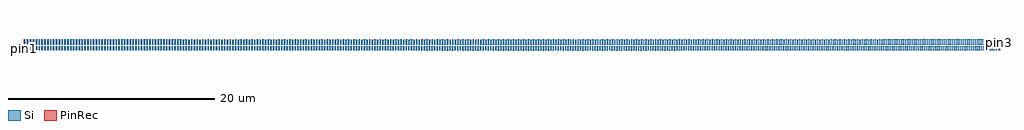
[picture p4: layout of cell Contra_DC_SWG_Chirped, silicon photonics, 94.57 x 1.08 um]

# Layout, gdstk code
import gdstk
lib = gdstk.Library(unit=1e-6, precision=1e-09)
def R(c, l, rs):  # rectangles x0, y0, x1, y1
    for r in rs: c.add(gdstk.rectangle(r[:2], r[2:], *l))
def A(c, l, x, y, w, h, nx, ny, dx, dy):  # array of equal rectangles
    R(c, l, [(x+i*dx, y+j*dy, x+i*dx+w, y+j*dy+h) for i in range(nx) for j in range(ny)])
Si = (1, 0)
PinRec = (1, 10)

contra_dc_swg_chirped = lib.new_cell('Contra_DC_SWG_Chirped')
A(contra_dc_swg_chirped, Si, 50.664, -0.229, 0.13, 0.399, 3, 1, 0.48, 0)
A(contra_dc_swg_chirped, Si, 40.391, -0.225, 0.132, 0.399, 3, 1, 0.497, 0)
A(contra_dc_swg_chirped, Si, 24.046, -0.21, 0.135, 0.399, 3, 1, 0.523, 0)
A(contra_dc_swg_chirped, Si, 16.097, -0.205, 0.137, 0.399, 3, 1, 0.535, 0)
A(contra_dc_swg_chirped, Si, 82.739, -0.204, 0.123, 0.399, 3, 1, 0.422, 0)
A(contra_dc_swg_chirped, Si, 9.606, -0.202, 0.138, 0.399, 3, 1, 0.545, 0)
A(contra_dc_swg_chirped, Si, 87.341, -0.202, 0.122, 0.399, 3, 1, 0.413, 0)
A(contra_dc_swg_chirped, Si, 3.553, -0.201, 0.139, 0.399, 3, 1, 0.554, 0)
A(contra_dc_swg_chirped, Si, 88.99, -0.201, 0.121, 0.399, 3, 1, 0.41, 0)
A(contra_dc_swg_chirped, Si, -0.07, -0.2, 0.14, 0.4, 3, 1, 0.559, 0)
A(contra_dc_swg_chirped, Si, 4.937, -0.2, 0.139, 0.4, 3, 1, 0.552, 0)
A(contra_dc_swg_chirped, Si, 8.239, -0.2, 0.138, 0.4, 3, 1, 0.547, 0)
A(contra_dc_swg_chirped, Si, 14.216, -0.2, 0.137, 0.4, 3, 1, 0.538, 0)
A(contra_dc_swg_chirped, Si, 19.564, -0.2, 0.136, 0.4, 3, 1, 0.53, 0)
A(contra_dc_swg_chirped, Si, 22.207, -0.2, 0.136, 0.4, 3, 1, 0.526, 0)
A(contra_dc_swg_chirped, Si, 31.043, -0.2, 0.134, 0.4, 3, 1, 0.512, 0)
A(contra_dc_swg_chirped, Si, 36.635, -0.2, 0.133, 0.4, 3, 1, 0.503, 0)
A(contra_dc_swg_chirped, Si, 42.128, -0.2, 0.132, 0.4, 3, 1, 0.494, 0)
A(contra_dc_swg_chirped, Si, 50.424, -0.2, 0.13, 0.4, 3, 1, 0.48, 0)
A(contra_dc_swg_chirped, Si, 55.194, -0.2, 0.129, 0.4, 3, 1, 0.472, 0)
A(contra_dc_swg_chirped, Si, 59.417, -0.2, 0.128, 0.4, 3, 1, 0.465, 0)
A(contra_dc_swg_chirped, Si, 67.215, -0.2, 0.126, 0.4, 3, 1, 0.451, 0)
A(contra_dc_swg_chirped, Si, 72.135, -0.2, 0.125, 0.4, 3, 1, 0.442, 0)
A(contra_dc_swg_chirped, Si, 74.777, -0.2, 0.125, 0.4, 3, 1, 0.437, 0)
A(contra_dc_swg_chirped, Si, 76.522, -0.2, 0.124, 0.4, 3, 1, 0.434, 0)
A(contra_dc_swg_chirped, Si, 81.254, -0.2, 0.123, 0.4, 3, 1, 0.425, 0)
A(contra_dc_swg_chirped, Si, 85.47, -0.2, 0.122, 0.4, 3, 1, 0.417, 0)
A(contra_dc_swg_chirped, Si, 90.014, -0.2, 0.121, 0.4, 3, 1, 0.408, 0)
A(contra_dc_swg_chirped, Si, 50.444, 0.311, 0.13, 0.499, 4, 1, 0.48, 0)
A(contra_dc_swg_chirped, Si, 46.079, 0.312, 0.131, 0.499, 3, 1, 0.488, 0)
A(contra_dc_swg_chirped, Si, 55.216, 0.312, 0.129, 0.499, 3, 1, 0.472, 0)
A(contra_dc_swg_chirped, Si, 9.882, 0.347, 0.138, 0.499, 3, 1, 0.545, 0)
A(contra_dc_swg_chirped, Si, 86.34, 0.347, 0.122, 0.499, 3, 1, 0.415, 0)
A(contra_dc_swg_chirped, Si, 15.029, 0.35, 0.137, 0.5, 3, 1, 0.537, 0)
A(contra_dc_swg_chirped, Si, 20.896, 0.35, 0.136, 0.5, 3, 1, 0.528, 0)
A(contra_dc_swg_chirped, Si, 25.623, 0.35, 0.135, 0.5, 3, 1, 0.521, 0)
A(contra_dc_swg_chirped, Si, 31.311, 0.35, 0.134, 0.5, 3, 1, 0.512, 0)
A(contra_dc_swg_chirped, Si, 37.404, 0.35, 0.133, 0.5, 3, 1, 0.502, 0)
A(contra_dc_swg_chirped, Si, 42.886, 0.35, 0.132, 0.5, 3, 1, 0.493, 0)
A(contra_dc_swg_chirped, Si, 45.835, 0.35, 0.131, 0.5, 3, 1, 0.488, 0)
A(contra_dc_swg_chirped, Si, 50.203, 0.35, 0.13, 0.5, 3, 1, 0.481, 0)
A(contra_dc_swg_chirped, Si, 55.452, 0.35, 0.129, 0.5, 3, 1, 0.472, 0)
A(contra_dc_swg_chirped, Si, 63.371, 0.35, 0.127, 0.5, 3, 1, 0.458, 0)
A(contra_dc_swg_chirped, Si, 65.655, 0.35, 0.127, 0.5, 3, 1, 0.454, 0)
A(contra_dc_swg_chirped, Si, 67.919, 0.35, 0.126, 0.5, 3, 1, 0.45, 0)
A(contra_dc_swg_chirped, Si, 70.162, 0.35, 0.126, 0.5, 3, 1, 0.446, 0)
A(contra_dc_swg_chirped, Si, 72.828, 0.35, 0.125, 0.5, 3, 1, 0.441, 0)
A(contra_dc_swg_chirped, Si, 77.638, 0.35, 0.124, 0.5, 3, 1, 0.432, 0)
A(contra_dc_swg_chirped, Si, 82.35, 0.35, 0.123, 0.5, 3, 1, 0.423, 0)
A(contra_dc_swg_chirped, Si, 86.963, 0.35, 0.122, 0.5, 3, 1, 0.414, 0)
A(contra_dc_swg_chirped, Si, 90.664, 0.35, 0.121, 0.5, 3, 1, 0.407, 0)
R(contra_dc_swg_chirped, Si, [(46.793,-0.229,46.924,0.17), (47.28,-0.229,47.41,0.17), (47.766,-0.229,47.896,0.17), (48.251,-0.229,48.381,0.17), (48.735,-0.229,48.866,0.17), (49.219,-0.229,49.349,0.17), (49.701,-0.229,49.832,0.17), (50.183,-0.229,50.313,0.17), (52.103,-0.229,52.232,0.17), (52.58,-0.229,52.71,0.17), (53.057,-0.229,53.187,0.17), (53.534,-0.229,53.663,0.17), (54.009,-0.229,54.138,0.17), (54.483,-0.229,54.613,0.17), (54.957,-0.229,55.086,0.17), (55.43,-0.229,55.559,0.17), (44.838,-0.228,44.969,0.171), (45.328,-0.228,45.459,0.171), (45.817,-0.228,45.948,0.171), (46.305,-0.228,46.436,0.171), (55.902,-0.228,56.031,0.171), (56.374,-0.228,56.502,0.171), (56.844,-0.228,56.973,0.171), (57.314,-0.228,57.442,0.171), (43.363,-0.227,43.494,0.172), (43.855,-0.227,43.987,0.172), (44.347,-0.227,44.478,0.172), (57.783,-0.227,57.911,0.172), (58.251,-0.227,58.379,0.172), (58.718,-0.227,58.846,0.172), (41.88,-0.226,42.012,0.173), (42.375,-0.226,42.507,0.173), (42.869,-0.226,43.001,0.173), (59.184,-0.226,59.312,0.173), (59.65,-0.226,59.778,0.173), (60.115,-0.226,60.243,0.173), (60.579,-0.225,60.707,0.174), (61.042,-0.225,61.17,0.174), (39.394,-0.224,39.526,0.175), (39.893,-0.224,40.025,0.175), (61.504,-0.224,61.632,0.175), (61.966,-0.224,62.093,0.175), (62.426,-0.224,62.554,0.175), (38.393,-0.223,38.526,0.176), (38.894,-0.223,39.026,0.176), (62.886,-0.223,63.014,0.176), (63.345,-0.223,63.473,0.176), (37.39,-0.222,37.522,0.177), (37.892,-0.222,38.025,0.177), (63.804,-0.222,63.931,0.177), (64.261,-0.222,64.388,0.177), (36.383,-0.221,36.516,0.178), (36.887,-0.221,37.019,0.178), (64.718,-0.221,64.845,0.178), (65.173,-0.221,65.3,0.178), (34.866,-0.22,35,0.179), (35.372,-0.22,35.506,0.179), (35.878,-0.22,36.011,0.179), (65.629,-0.22,65.755,0.179), (66.083,-0.22,66.209,0.179), (33.851,-0.219,33.985,0.18), (34.359,-0.219,34.492,0.18), (66.536,-0.219,66.663,0.18), (66.989,-0.219,67.115,0.18), (32.833,-0.218,32.967,0.181), (33.342,-0.218,33.476,0.181), (67.44,-0.218,67.567,0.181), (67.891,-0.218,68.018,0.181), (31.811,-0.217,31.945,0.182), (32.322,-0.217,32.456,0.182), (68.341,-0.217,68.468,0.182), (68.791,-0.217,68.917,0.182), (30.786,-0.216,30.921,0.183), (31.299,-0.216,31.433,0.183), (69.239,-0.216,69.365,0.183), (69.687,-0.216,69.813,0.183), (29.758,-0.215,29.893,0.184), (30.273,-0.215,30.407,0.184), (70.134,-0.215,70.26,0.184), (70.58,-0.215,70.706,0.184), (28.727,-0.214,28.861,0.185), (29.243,-0.214,29.377,0.185), (71.025,-0.214,71.151,0.185), (71.47,-0.214,71.595,0.185), (27.692,-0.213,27.827,0.186), (28.21,-0.213,28.345,0.186), (71.913,-0.213,72.039,0.186), (72.356,-0.213,72.481,0.186), (26.654,-0.212,26.789,0.187), (27.174,-0.212,27.309,0.187), (72.798,-0.212,72.923,0.187), (73.239,-0.212,73.364,0.187), (73.68,-0.212,73.804,0.187), (25.613,-0.211,25.749,0.188), (26.134,-0.211,26.269,0.188), (74.119,-0.211,74.244,0.188), (74.558,-0.211,74.683,0.188), (74.996,-0.21,75.12,0.189), (75.433,-0.21,75.557,0.189), (22.996,-0.209,23.132,0.19), (23.521,-0.209,23.657,0.19), (75.869,-0.209,75.994,0.19), (76.305,-0.209,76.429,0.19), (76.739,-0.209,76.863,0.19), (21.416,-0.208,21.552,0.191), (21.944,-0.208,22.08,0.191), (22.47,-0.208,22.606,0.191), (77.173,-0.208,77.297,0.191), (77.606,-0.208,77.73,0.191), (19.829,-0.207,19.965,0.192), (20.359,-0.207,20.495,0.192), (20.888,-0.207,21.024,0.192), (78.038,-0.207,78.162,0.192), (78.47,-0.207,78.594,0.192), (78.9,-0.207,79.024,0.192), (18.234,-0.206,18.371,0.193), (18.767,-0.206,18.903,0.193), (19.298,-0.206,19.435,0.193), (79.33,-0.206,79.454,0.193), (79.759,-0.206,79.883,0.193), (80.187,-0.206,80.311,0.193), (80.614,-0.206,80.738,0.193), (17.701,-0.205,17.838,0.194), (81.041,-0.205,81.164,0.194), (81.467,-0.205,81.59,0.194), (81.892,-0.205,82.015,0.194), (13.946,-0.204,14.083,0.195), (14.485,-0.204,14.622,0.195), (15.023,-0.204,15.16,0.195), (15.56,-0.204,15.697,0.195), (82.316,-0.204,82.439,0.195), (11.239,-0.203,11.377,0.196), (11.782,-0.203,11.92,0.196), (12.325,-0.203,12.462,0.196), (12.866,-0.203,13.003,0.196), (13.406,-0.203,13.544,0.196), (84.004,-0.203,84.126,0.196), (84.424,-0.203,84.546,0.196), (84.843,-0.203,84.965,0.196), (85.261,-0.203,85.384,0.196), (85.679,-0.203,85.801,0.196), (7.965,-0.202,8.103,0.197), (8.512,-0.202,8.651,0.197), (9.06,-0.202,9.198,0.197), (86.096,-0.202,86.218,0.197), (86.512,-0.202,86.633,0.197), (86.927,-0.202,87.049,0.197), (88.579,-0.202,88.7,0.197), (1.885,-0.201,2.024,0.198), (2.441,-0.201,2.581,0.198), (2.997,-0.201,3.137,0.198), (5.213,-0.201,5.352,0.198), (5.765,-0.201,5.904,0.198), (6.316,-0.201,6.455,0.198), (6.867,-0.201,7.005,0.198), (7.416,-0.201,7.555,0.198), (90.218,-0.201,90.339,0.198), (90.626,-0.201,90.747,0.198), (91.033,-0.201,91.154,0.198), (91.439,-0.201,91.56,0.198), (91.845,-0.201,91.965,0.198), (92.249,-0.201,92.37,0.198), (92.653,-0.201,92.773,0.198), (0.209,-0.2,0.349,0.199), (0.769,-0.2,0.909,0.199), (1.327,-0.2,1.467,0.199), (1.606,-0.2,1.746,0.2), (2.163,-0.2,2.303,0.2), (2.72,-0.2,2.859,0.2), (3.275,-0.2,3.415,0.2), (3.83,-0.2,3.969,0.2), (4.384,-0.2,4.523,0.2), (6.591,-0.2,6.73,0.2), (7.141,-0.2,7.28,0.2), (7.69,-0.2,7.829,0.2), (9.879,-0.2,10.017,0.2), (10.423,-0.2,10.562,0.2), (10.968,-0.2,11.106,0.2), (11.511,-0.2,11.649,0.2), (12.054,-0.2,12.191,0.2), (12.595,-0.2,12.733,0.2), (13.136,-0.2,13.274,0.2), (13.676,-0.2,13.814,0.2), (15.829,-0.2,15.966,0.2), (16.365,-0.2,16.502,0.2), (16.9,-0.2,17.037,0.2), (17.434,-0.2,17.571,0.2), (17.968,-0.2,18.104,0.2), (18.501,-0.2,18.637,0.2), (19.033,-0.2,19.169,0.2), (21.152,-0.2,21.288,0.2), (21.68,-0.2,21.816,0.2), (23.784,-0.2,23.919,0.2), (24.307,-0.2,24.443,0.2), (24.83,-0.2,24.966,0.2), (25.353,-0.2,25.488,0.2), (25.874,-0.2,26.009,0.2), (26.394,-0.2,26.53,0.2), (26.914,-0.2,27.049,0.2), (27.433,-0.2,27.568,0.2), (27.951,-0.2,28.086,0.2), (28.469,-0.2,28.603,0.2), (28.985,-0.2,29.12,0.2), (29.501,-0.2,29.635,0.2), (30.016,-0.2,30.15,0.2), (30.53,-0.2,30.664,0.2), (32.578,-0.2,32.711,0.2), (33.088,-0.2,33.221,0.2), (33.597,-0.2,33.73,0.2), (34.105,-0.2,34.239,0.2), (34.613,-0.2,34.746,0.2), (35.119,-0.2,35.253,0.2), (35.625,-0.2,35.759,0.2), (36.13,-0.2,36.263,0.2), (38.143,-0.2,38.275,0.2), (38.644,-0.2,38.776,0.2), (39.144,-0.2,39.276,0.2), (39.643,-0.2,39.776,0.2), (40.142,-0.2,40.274,0.2), (40.64,-0.2,40.772,0.2), (41.137,-0.2,41.269,0.2), (41.633,-0.2,41.765,0.2), (43.609,-0.2,43.741,0.2), (44.101,-0.2,44.233,0.2), (44.592,-0.2,44.724,0.2), (45.083,-0.2,45.214,0.2), (45.572,-0.2,45.704,0.2), (46.061,-0.2,46.192,0.2), (46.549,-0.2,46.68,0.2), (47.036,-0.2,47.167,0.2), (47.523,-0.2,47.653,0.2), (48.008,-0.2,48.139,0.2), (48.493,-0.2,48.624,0.2), (48.977,-0.2,49.107,0.2), (49.46,-0.2,49.59,0.2), (49.942,-0.2,50.073,0.2), (51.863,-0.2,51.993,0.2), (52.342,-0.2,52.471,0.2), (52.819,-0.2,52.949,0.2), (53.296,-0.2,53.425,0.2), (53.771,-0.2,53.901,0.2), (54.246,-0.2,54.376,0.2), (54.72,-0.2,54.85,0.2), (56.609,-0.2,56.738,0.2), (57.079,-0.2,57.208,0.2), (57.548,-0.2,57.677,0.2), (58.017,-0.2,58.145,0.2), (58.484,-0.2,58.613,0.2), (58.951,-0.2,59.079,0.2), (60.81,-0.2,60.938,0.2), (61.273,-0.2,61.401,0.2), (61.735,-0.2,61.863,0.2), (62.196,-0.2,62.324,0.2), (62.656,-0.2,62.784,0.2), (63.116,-0.2,63.243,0.2), (63.575,-0.2,63.702,0.2), (64.032,-0.2,64.16,0.2), (64.489,-0.2,64.617,0.2), (64.946,-0.2,65.073,0.2), (65.401,-0.2,65.528,0.2), (65.856,-0.2,65.982,0.2), (66.31,-0.2,66.436,0.2), (66.762,-0.2,66.889,0.2), (68.566,-0.2,68.692,0.2), (69.015,-0.2,69.141,0.2), (69.463,-0.2,69.589,0.2), (69.911,-0.2,70.036,0.2), (70.357,-0.2,70.483,0.2), (70.803,-0.2,70.928,0.2), (71.247,-0.2,71.373,0.2), (71.691,-0.2,71.817,0.2), (73.459,-0.2,73.584,0.2), (73.899,-0.2,74.024,0.2), (74.339,-0.2,74.463,0.2), (76.087,-0.2,76.211,0.2), (77.822,-0.2,77.946,0.2), (78.254,-0.2,78.378,0.2), (78.685,-0.2,78.809,0.2), (79.115,-0.2,79.239,0.2), (79.545,-0.2,79.668,0.2), (79.973,-0.2,80.097,0.2), (80.401,-0.2,80.524,0.2), (80.828,-0.2,80.951,0.2), (82.527,-0.2,82.65,0.2), (82.95,-0.2,83.073,0.2), (83.372,-0.2,83.495,0.2), (83.793,-0.2,83.916,0.2), (84.214,-0.2,84.336,0.2), (84.633,-0.2,84.756,0.2), (85.052,-0.2,85.175,0.2), (86.719,-0.2,86.841,0.2), (87.134,-0.2,87.256,0.2), (87.548,-0.2,87.67,0.2), (87.961,-0.2,88.082,0.2), (88.373,-0.2,88.495,0.2), (88.785,-0.2,88.906,0.2), (89.195,-0.2,89.317,0.2), (89.605,-0.2,89.726,0.2), (91.236,-0.2,91.357,0.2), (91.642,-0.2,91.763,0.2), (92.047,-0.2,92.167,0.2), (92.451,-0.2,92.571,0.2), (92.854,-0.2,92.975,0.2), (93.056,-0.2,93.176,0.199), (93.257,-0.2,93.377,0.2), (93.458,-0.2,93.578,0.199), (93.659,-0.2,93.779,0.2), (93.859,-0.2,93.979,0.199), (94.059,-0.2,94.179,0.2), (94.3,-0.2,94.42,0.2), (47.541,0.311,47.672,0.81), (48.027,0.311,48.158,0.81), (48.512,0.311,48.643,0.81), (48.996,0.311,49.127,0.81), (49.479,0.311,49.61,0.81), (49.962,0.311,50.092,0.81), (52.362,0.311,52.492,0.81), (52.84,0.311,52.969,0.81), (53.316,0.311,53.446,0.81), (53.792,0.311,53.922,0.81), (54.268,0.311,54.397,0.81), (54.742,0.311,54.871,0.81), (56.631,0.312,56.76,0.811), (44.61,0.313,44.741,0.812), (45.1,0.313,45.232,0.812), (45.59,0.313,45.721,0.812), (57.102,0.313,57.23,0.812), (57.571,0.313,57.7,0.812), (58.04,0.313,58.168,0.812), (43.626,0.314,43.758,0.813), (44.118,0.314,44.25,0.813), (58.507,0.314,58.636,0.813), (58.975,0.314,59.103,0.813), (42.144,0.315,42.276,0.814), (42.639,0.315,42.771,0.814), (43.133,0.315,43.265,0.814), (59.441,0.315,59.569,0.814), (59.906,0.315,60.034,0.814), (41.649,0.316,41.781,0.815), (60.371,0.316,60.499,0.815), (60.834,0.316,60.962,0.815), (40.655,0.317,40.787,0.816), (41.152,0.317,41.284,0.816), (61.297,0.317,61.425,0.816), (61.76,0.317,61.887,0.816), (39.658,0.318,39.791,0.817), (40.157,0.318,40.29,0.817), (62.221,0.318,62.349,0.817), (62.681,0.318,62.809,0.817), (38.658,0.319,38.791,0.818), (39.159,0.319,39.291,0.818), (63.141,0.319,63.269,0.818), (38.157,0.32,38.29,0.819), (63.6,0.32,63.727,0.819), (64.058,0.32,64.185,0.819), (37.152,0.321,37.285,0.82), (37.655,0.321,37.788,0.82), (64.515,0.321,64.642,0.82), (36.649,0.322,36.782,0.821), (64.972,0.322,65.099,0.821), (65.427,0.322,65.554,0.821), (35.639,0.323,35.772,0.822), (36.144,0.323,36.277,0.822), (65.882,0.323,66.009,0.822), (66.336,0.323,66.463,0.822), (34.626,0.324,34.759,0.823), (35.133,0.324,35.266,0.823), (66.789,0.324,66.916,0.823), (34.118,0.325,34.252,0.824), (67.242,0.325,67.368,0.824), (67.693,0.325,67.82,0.824), (33.1,0.326,33.234,0.825), (33.61,0.326,33.743,0.825), (68.144,0.326,68.27,0.825), (32.59,0.327,32.724,0.826), (68.594,0.327,68.72,0.826), (69.043,0.327,69.169,0.826), (31.567,0.328,31.701,0.827), (32.079,0.328,32.213,0.827), (69.491,0.328,69.617,0.827), (31.055,0.329,31.189,0.828), (69.939,0.329,70.065,0.828), (70.385,0.329,70.511,0.828), (30.027,0.33,30.161,0.829), (30.541,0.33,30.675,0.829), (70.831,0.33,70.957,0.829), (29.512,0.331,29.646,0.83), (71.276,0.331,71.402,0.83), (71.721,0.331,71.846,0.83), (28.479,0.332,28.614,0.831), (28.996,0.332,29.131,0.831), (72.164,0.332,72.289,0.831), (27.962,0.333,28.097,0.832), (72.607,0.333,72.732,0.832), (73.048,0.333,73.174,0.832), (26.924,0.334,27.059,0.833), (27.444,0.334,27.578,0.833), (73.489,0.334,73.614,0.833), (73.929,0.334,74.054,0.833), (25.884,0.335,26.019,0.834), (26.404,0.335,26.539,0.834), (74.369,0.335,74.494,0.834), (25.362,0.336,25.497,0.835), (74.807,0.336,74.932,0.835), (75.245,0.336,75.37,0.835), (24.316,0.337,24.452,0.836), (24.84,0.337,24.975,0.836), (75.682,0.337,75.807,0.836), (76.118,0.337,76.243,0.836), (23.268,0.338,23.403,0.837), (23.792,0.338,23.928,0.837), (76.553,0.338,76.678,0.837), (76.988,0.338,77.112,0.837), (22.216,0.339,22.351,0.838), (22.742,0.339,22.878,0.838), (77.421,0.339,77.546,0.838), (77.854,0.339,77.978,0.838), (21.16,0.34,21.296,0.839), (21.688,0.34,21.824,0.839), (78.286,0.34,78.41,0.839), (78.717,0.34,78.841,0.839), (19.571,0.341,19.707,0.84), (20.102,0.341,20.238,0.84), (20.631,0.341,20.767,0.84), (79.148,0.341,79.272,0.84), (79.577,0.341,79.701,0.84), (18.507,0.342,18.644,0.841), (19.04,0.342,19.176,0.841), (80.006,0.342,80.13,0.841), (80.434,0.342,80.558,0.841), (80.861,0.342,80.985,0.841), (16.906,0.343,17.043,0.842), (17.441,0.343,17.578,0.842), (17.975,0.343,18.111,0.842), (81.287,0.343,81.411,0.842), (81.713,0.343,81.836,0.842), (15.297,0.344,15.435,0.843), (15.834,0.344,15.972,0.843), (16.371,0.344,16.508,0.843), (82.138,0.344,82.261,0.843), (82.562,0.344,82.684,0.843), (82.985,0.344,83.107,0.843), (13.681,0.345,13.819,0.844), (14.221,0.345,14.358,0.844), (14.76,0.345,14.897,0.844), (83.407,0.345,83.53,0.844), (83.828,0.345,83.951,0.844), (84.249,0.345,84.371,0.844), (11.515,0.346,11.653,0.845), (12.058,0.346,12.196,0.845), (12.6,0.346,12.738,0.845), (13.141,0.346,13.279,0.845), (84.669,0.346,84.791,0.845), (85.088,0.346,85.21,0.845), (85.506,0.346,85.628,0.845), (85.923,0.346,86.045,0.845), (8.789,0.347,8.928,0.846), (9.336,0.347,9.474,0.846), (87.584,0.347,87.706,0.846), (87.998,0.347,88.119,0.846), (5.491,0.348,5.63,0.847), (6.043,0.348,6.182,0.847), (6.594,0.348,6.733,0.847), (7.144,0.348,7.283,0.847), (7.693,0.348,7.832,0.847), (8.242,0.348,8.38,0.847), (88.41,0.348,88.532,0.847), (88.822,0.348,88.943,0.847), (89.233,0.348,89.354,0.847), (89.643,0.348,89.764,0.847), (90.052,0.348,90.173,0.847), (90.46,0.348,90.581,0.847), (-0.06,0.349,0.06,0.848), (0.489,0.349,0.629,0.848), (1.048,0.349,1.188,0.848), (1.607,0.349,1.746,0.848), (2.164,0.349,2.304,0.848), (2.721,0.349,2.86,0.848), (3.276,0.349,3.416,0.848), (3.831,0.349,3.971,0.848), (4.385,0.349,4.525,0.848), (4.939,0.349,5.078,0.848), (90.868,0.349,90.989,0.848), (91.275,0.349,91.395,0.848), (91.681,0.349,91.801,0.848), (92.086,0.349,92.206,0.848), (92.49,0.349,92.611,0.848), (92.894,0.349,93.014,0.848), (93.296,0.349,93.417,0.848), (93.698,0.349,93.818,0.848), (94.099,0.349,94.219,0.848), (0.21,0.35,0.35,0.85), (0.769,0.35,0.909,0.85), (1.328,0.35,1.467,0.85), (1.885,0.35,2.025,0.85), (2.442,0.35,2.582,0.85), (2.999,0.35,3.138,0.85), (3.554,0.35,3.693,0.85), (4.108,0.35,4.248,0.85), (4.662,0.35,4.801,0.85), (5.215,0.35,5.354,0.85), (5.767,0.35,5.906,0.85), (6.319,0.35,6.457,0.85), (6.869,0.35,7.008,0.85), (7.419,0.35,7.557,0.85), (7.968,0.35,8.106,0.85), (8.516,0.35,8.654,0.85), (9.063,0.35,9.201,0.85), (9.609,0.35,9.748,0.85), (10.155,0.35,10.293,0.85), (10.7,0.35,10.838,0.85), (11.244,0.35,11.382,0.85), (11.787,0.35,11.925,0.85), (12.329,0.35,12.467,0.85), (12.871,0.35,13.008,0.85), (13.411,0.35,13.549,0.85), (13.951,0.35,14.089,0.85), (14.49,0.35,14.628,0.85), (16.639,0.35,16.775,0.85), (17.174,0.35,17.31,0.85), (17.708,0.35,17.844,0.85), (18.241,0.35,18.378,0.85), (18.774,0.35,18.91,0.85), (19.305,0.35,19.442,0.85), (19.836,0.35,19.973,0.85), (20.366,0.35,20.503,0.85), (22.479,0.35,22.615,0.85), (23.005,0.35,23.141,0.85), (23.53,0.35,23.666,0.85), (24.055,0.35,24.19,0.85), (24.578,0.35,24.714,0.85), (25.101,0.35,25.236,0.85), (27.184,0.35,27.319,0.85), (27.703,0.35,27.838,0.85), (28.221,0.35,28.355,0.85), (28.738,0.35,28.872,0.85), (29.254,0.35,29.389,0.85), (29.77,0.35,29.904,0.85), (30.284,0.35,30.419,0.85), (30.798,0.35,30.932,0.85), (32.845,0.35,32.979,0.85), (33.355,0.35,33.489,0.85), (33.864,0.35,33.998,0.85), (34.372,0.35,34.506,0.85), (34.879,0.35,35.013,0.85), (35.386,0.35,35.519,0.85), (35.892,0.35,36.025,0.85), (36.397,0.35,36.53,0.85), (36.901,0.35,37.034,0.85), (38.909,0.35,39.041,0.85), (39.409,0.35,39.541,0.85), (39.908,0.35,40.04,0.85), (40.406,0.35,40.539,0.85), (40.904,0.35,41.036,0.85), (41.401,0.35,41.533,0.85), (41.897,0.35,42.029,0.85), (42.392,0.35,42.524,0.85), (44.364,0.35,44.495,0.85), (44.855,0.35,44.986,0.85), (45.345,0.35,45.477,0.85), (47.298,0.35,47.429,0.85), (47.784,0.35,47.915,0.85), (48.27,0.35,48.4,0.85), (48.754,0.35,48.885,0.85), (49.238,0.35,49.368,0.85), (49.721,0.35,49.851,0.85), (51.644,0.35,51.774,0.85), (52.123,0.35,52.253,0.85), (52.601,0.35,52.731,0.85), (53.078,0.35,53.208,0.85), (53.555,0.35,53.684,0.85), (54.03,0.35,54.16,0.85), (54.505,0.35,54.634,0.85), (54.979,0.35,55.108,0.85), (56.866,0.35,56.995,0.85), (57.336,0.35,57.465,0.85), (57.805,0.35,57.934,0.85), (58.274,0.35,58.402,0.85), (58.741,0.35,58.87,0.85), (59.208,0.35,59.336,0.85), (59.674,0.35,59.802,0.85), (60.139,0.35,60.267,0.85), (60.603,0.35,60.731,0.85), (61.066,0.35,61.194,0.85), (61.529,0.35,61.656,0.85), (61.99,0.35,62.118,0.85), (62.451,0.35,62.579,0.85), (62.911,0.35,63.039,0.85), (64.744,0.35,64.871,0.85), (65.2,0.35,65.327,0.85), (67.016,0.35,67.142,0.85), (67.468,0.35,67.594,0.85), (69.267,0.35,69.393,0.85), (69.715,0.35,69.841,0.85), (71.499,0.35,71.624,0.85), (71.942,0.35,72.068,0.85), (72.385,0.35,72.511,0.85), (74.149,0.35,74.274,0.85), (74.588,0.35,74.713,0.85), (75.026,0.35,75.151,0.85), (75.464,0.35,75.588,0.85), (75.9,0.35,76.025,0.85), (76.336,0.35,76.46,0.85), (76.771,0.35,76.895,0.85), (77.205,0.35,77.329,0.85), (78.933,0.35,79.057,0.85), (79.363,0.35,79.486,0.85), (79.792,0.35,79.915,0.85), (80.22,0.35,80.344,0.85), (80.648,0.35,80.771,0.85), (81.074,0.35,81.198,0.85), (81.5,0.35,81.624,0.85), (81.925,0.35,82.049,0.85), (83.618,0.35,83.74,0.85), (84.039,0.35,84.161,0.85), (84.459,0.35,84.581,0.85), (84.878,0.35,85.001,0.85), (85.297,0.35,85.419,0.85), (85.715,0.35,85.837,0.85), (86.132,0.35,86.254,0.85), (86.548,0.35,86.67,0.85), (88.204,0.35,88.326,0.85), (88.616,0.35,88.738,0.85), (89.027,0.35,89.149,0.85), (89.438,0.35,89.559,0.85), (89.847,0.35,89.969,0.85), (90.256,0.35,90.377,0.85), (91.883,0.35,92.004,0.85), (92.288,0.35,92.409,0.85), (92.692,0.35,92.812,0.85), (93.095,0.35,93.215,0.85), (93.497,0.35,93.618,0.85), (93.899,0.35,94.019,0.85), (94.299,0.35,94.42,0.85)])
contra_dc_swg_chirped.add(gdstk.FlexPath([(-0.06,0),(-0.08,0)], 0.4, ends="flush", simple_path=True, layer=1, datatype=10))  # PinRec
contra_dc_swg_chirped.add(gdstk.FlexPath([(-0.06,0.599),(-0.08,0.599)], 0.5, ends="flush", simple_path=True, layer=1, datatype=10))  # PinRec
contra_dc_swg_chirped.add(gdstk.FlexPath([(94.47,0.599),(94.49,0.599)], 0.5, ends="flush", simple_path=True, layer=1, datatype=10))  # PinRec
contra_dc_swg_chirped.add(gdstk.FlexPath([(94.47,0),(94.49,0)], 0.4, ends="flush", simple_path=True, layer=1, datatype=10))  # PinRec
contra_dc_swg_chirped.add(gdstk.Label('pin1', (-0.07,0), layer=1, texttype=10))
contra_dc_swg_chirped.add(gdstk.Label('pin2', (-0.07,0.599), layer=1, texttype=10))
contra_dc_swg_chirped.add(gdstk.Label('pin3', (94.48,0.599), layer=1, texttype=10))
contra_dc_swg_chirped.add(gdstk.Label('pin4', (94.48,0), layer=1, texttype=10))

lib.write_gds('Contra_DC_SWG_Chirped.gds')
